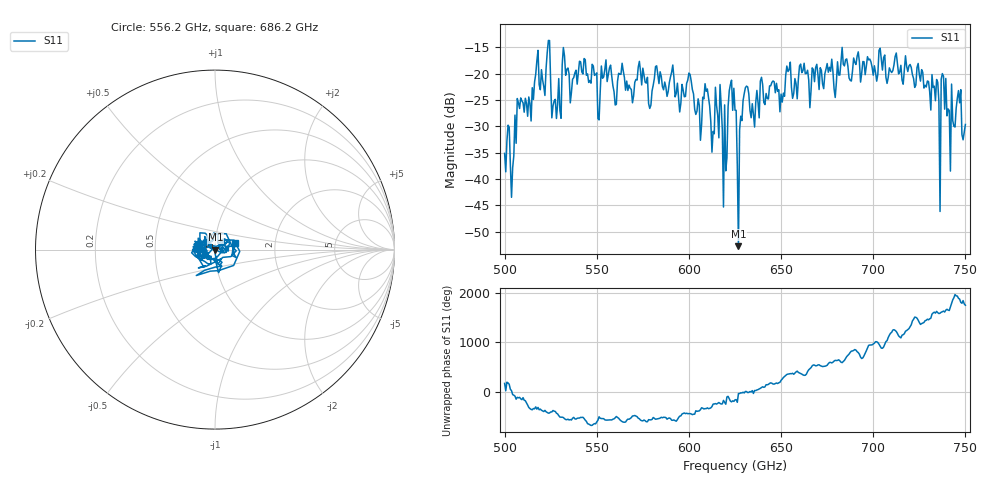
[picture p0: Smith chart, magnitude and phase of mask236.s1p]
!Created with skrf (http://scikit-rf.org).
# GHz S MA R 50.0
!freq magS11 angS11
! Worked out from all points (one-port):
!   401 points, 500 GHz to 750 GHz, reference 50 ohm
!   lowest |S11| = -52.8 dB at 626.9 GHz (marker M1), VSWR 1.00, Z = 50.2 - j0.0972 ohm
!   |S11| at or under -10 dB: start of sweep to end of sweep
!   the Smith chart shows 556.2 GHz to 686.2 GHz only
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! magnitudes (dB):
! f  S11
! 500 GHz  -35.1
! 504.4 GHz  -37.8
! 508.1 GHz  -26.6
! 513.1 GHz  -24.4
! 517.5 GHz  -17.5
! 523.8 GHz  -13.7
! 526.9 GHz  -25.2
! 531.2 GHz  -18.3
! 562.5 GHz  -20.1
! 593.8 GHz  -21.8
! 609.4 GHz  -23.3
! 612.5 GHz  -34.9
! 616.2 GHz  -32.2
! 619.4 GHz  -25.9
! 622.5 GHz  -22.1
! 625 GHz  -26.9
! 626.9 GHz  -52.8
! 630.6 GHz  -22.7
! 634.4 GHz  -25.7
! 656.2 GHz  -24.7
! 687.5 GHz  -21.2
! 718.8 GHz  -19.6
! 733.8 GHz  -25.1
! 735 GHz  -21.6
! 738.1 GHz  -20.5
! 743.1 GHz  -28.9
! 746.2 GHz  -23.2
! 750 GHz  -29.6
